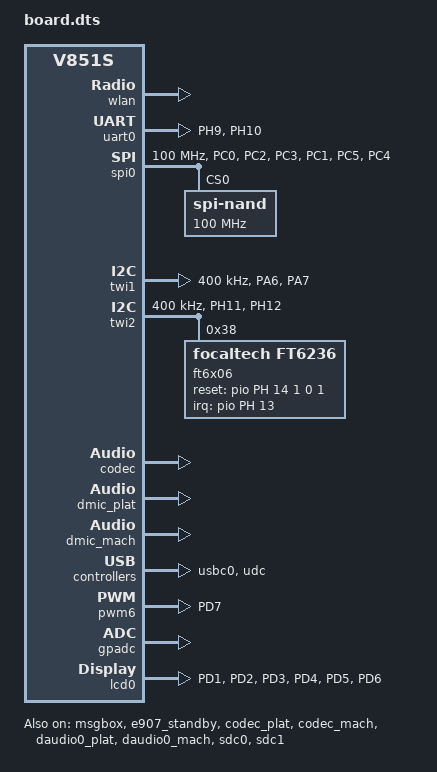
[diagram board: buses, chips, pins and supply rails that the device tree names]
/*
 * Allwinner Technology CO., Ltd. sun8iw21p1 soc board.
 *
 * soc board support.
 */

/dts-v1/;

#include "sun8iw21p1.dtsi"

/{
	compatible = "YuzukiHD,Yuzukilizard", "allwinner,sun8iw21p1", "arm,sun8iw21p1", "allwinner,v851s";

	reserved-memory {
		e907_dram: riscv_memserve {
			reg = <0x0 0x43c00000 0x0 0x00400000>;
			no-map;
		};

		vdev0buffer: vdev0buffer@0x43000000 {
			/* 256k reserved for shared mem pool */
			compatible = "shared-dma-pool";
			reg = <0x0 0x43000000 0x0 0x40000>;
			no-map;
		};

		vdev0vring0: vdev0vring0@0x43040000 {
			reg = <0x0 0x43040000 0x0 0x20000>;
			no-map;
		};

		vdev0vring1: vdev0vring1@0x43060000 {
			reg = <0x0 0x43060000 0x0 0x20000>;
			no-map;
		};
	};

	e907_rproc: e907_rproc@0 {
		compatible = "allwinner,sun8iw21p1-e907-rproc";
		clock-frequency = <600000000>;
		memory-region = <&e907_dram>, <&vdev0buffer>,
				<&vdev0vring0>, <&vdev0vring1>;

		mboxes = <&msgbox 0>;
		mbox-names = "mbox-chan";
		iommus = <&mmu_aw 5 1>;

		memory-mappings =
			/* DA 	         len         PA */
			/* DDR for e907  */
			< 0x43c00000 0x00400000 0x43c00000 >;
		core-name = "sun8iw21p1-e907";
		firmware-name = "melis-elf";
		status = "okay";
	};

	rpbuf_controller0: rpbuf_controller@0 {
		compatible = "allwinner,rpbuf-controller";
		remoteproc = <&e907_rproc>;
		ctrl_id = <0>;	/* index of /dev/rpbuf_ctrl */
		iommus = <&mmu_aw 5 1>;
		status = "okay";
	};

	rpbuf_sample: rpbuf_sample@0 {
		compatible = "allwinner,rpbuf-sample";
		rpbuf = <&rpbuf_controller0>;
		status = "okay";
	};

	soc@03000000 {		
		wlan: wlan@0 {
			compatible    = "allwinner,sunxi-wlan";
			pinctrl-names = "default";
			clock-names = "32k-fanout0";
			clocks        = <&clk_fanout0>;
			wlan_busnum    = <0x1>;
			wlan_regon    = <&pio PE 6 1 0x1 0x2 0>;
			wlan_hostwake = <&pio PE 7 14 0x1 0x2 0>;
			chip_en;
			power_en;
			status        = "okay";
			wakeup-source;
		};

		vind0:vind@0 {
			vind0_clk = <200000000>;
			status = "okay";

			csi2:csi@2 {
				pinctrl-names = "default","sleep";
				pinctrl-0 = <&ncsi_pins_a>;
				pinctrl-1 = <&ncsi_pins_b>;
				status = "disabled";
			};

			tdm0:tdm@0 {
				work_mode = <0>;
			};

			isp00:isp@0 {
				work_mode = <0>;
			};

			scaler00:scaler@0 {
				work_mode = <0>;
			};

			scaler10:scaler@4 {
				work_mode = <0>;
			};

			scaler20:scaler@8 {
				work_mode = <0>;
			};

			scaler30:scaler@12 {
				work_mode = <0>;
			};

			actuator0:actuator@0 {
				device_type = "actuator0";
				actuator0_name = "ad5820_act";
				actuator0_slave = <0x18>;
				actuator0_af_pwdn = <>;
				actuator0_afvdd = "afvcc-csi";
				actuator0_afvdd_vol = <2800000>;
				status = "disabled";
			};

			flash0:flash@0 {
				device_type = "flash0";
				flash0_type = <2>;
				flash0_en = <>;
				flash0_mode = <>;
				flash0_flvdd = "";
				flash0_flvdd_vol = <>;
				status = "disabled";
			};

			sensor0:sensor@0 {
				device_type = "sensor0";
				sensor0_mname = "gc2053_mipi";
				sensor0_twi_cci_id = <1>;
				sensor0_twi_addr = <0x6e>;
				sensor0_mclk_id = <0>;
				sensor0_pos = "rear";
				sensor0_isp_used = <1>;
				sensor0_fmt = <1>;
				sensor0_stby_mode = <0>;
				sensor0_vflip = <0>;
				sensor0_hflip = <0>;
				sensor0_iovdd-supply = <>;
				sensor0_iovdd_vol = <1800000>;
				sensor0_avdd-supply = <>;
				sensor0_avdd_vol = <2800000>;
				sensor0_dvdd-supply = <>;
				sensor0_dvdd_vol = <1200000>;
				sensor0_power_en = <>;
				sensor0_reset = <&pio PA 8 1 0 1 0>;
				sensor0_pwdn = <&pio PA 9 1 0 1 0>;
				/*sensor0_sm_hs = <&pio PE 2 1 0 1 0>;*/
				/*sensor0_sm_vs = <&pio PE 3 1 0 1 0>;*/
				flash_handle = <&flash0>;
				act_handle = <&actuator0>;
				status	= "okay";
			};

			sensor1:sensor@1 {
				device_type = "sensor1";
				sensor1_mname = "imx386_mipi_2";
				sensor1_twi_cci_id = <0>;
				sensor1_twi_addr = <0x20>;
				sensor1_mclk_id = <1>;
				sensor1_pos = "front";
				sensor1_isp_used = <1>;
				sensor1_fmt = <1>;
				sensor1_stby_mode = <0>;
				sensor1_vflip = <0>;
				sensor1_hflip = <0>;
				sensor1_iovdd-supply = <>;
				sensor1_iovdd_vol = <1800000>;
				sensor1_avdd-supply = <>;
				sensor1_avdd_vol = <2800000>;
				sensor1_dvdd-supply = <>;
				sensor1_dvdd_vol = <1200000>;
				sensor1_power_en = <>;
				sensor1_reset = <&pio PA 20 1 0 1 0>;
				sensor1_pwdn = <&pio PA 21 1 0 1 0>;
				sensor1_sm_hs = <&pio PE 2 1 0 1 0>;
				sensor1_sm_vs = <&pio PE 3 1 0 1 0>;
				flash_handle = <>;
				act_handle = <>;
				status	= "disabled";
			};

			vinc00:vinc@0 {
				vinc0_csi_sel = <0>;
				vinc0_mipi_sel = <0>;
				vinc0_isp_sel = <0>;
				vinc0_isp_tx_ch_ = <0>;
				vinc0_tdm_rx_sel = <0>;
				vinc0_rear_sensor_sel = <0>;
				vinc0_front_sensor_sel = <0>;
				vinc0_sensor_list = <0>;
				work_mode = <0x0>;
				status = "okay";
			};

			vinc01:vinc@1 {
				vinc1_csi_sel = <2>;
				vinc1_mipi_sel = <0xff>;
				vinc1_isp_sel = <1>;
				vinc1_isp_tx_ch = <1>;
				vinc1_tdm_rx_sel = <1>;
				vinc1_rear_sensor_sel = <0>;
				vinc1_front_sensor_sel = <0>;
				vinc1_sensor_list = <0>;
				status = "disabled";
			};

			vinc02:vinc@2 {
				vinc2_csi_sel = <2>;
				vinc2_mipi_sel = <0xff>;
				vinc2_isp_sel = <2>;
				vinc2_isp_tx_ch_ = <2>;
				vinc2_tdm_rx_sel = <2>;
				vinc2_rear_sensor_sel = <0>;
				vinc2_front_sensor_sel = <0>;
				vinc2_sensor_list = <0>;
				status = "disabled";
			};

			vinc03:vinc@3 {
				vinc3_csi_sel = <0>;
				vinc3_mipi_sel = <0xff>;
				vinc3_isp_sel = <0>;
				vinc3_isp_tx_ch_ = <0>;
				vinc3_tdm_rx_sel = <0>;
				vinc3_rear_sensor_sel = <1>;
				vinc3_front_sensor_sel = <1>;
				vinc3_sensor_list = <0>;
				status = "disabled";
			};

			vinc10:vinc@4 {
				vinc4_csi_sel = <0>;
				vinc4_mipi_sel = <0>;
				vinc4_isp_sel = <0>;
				vinc4_isp_tx_ch = <0>;
				vinc4_tdm_rx_sel = <0>;
				vinc4_rear_sensor_sel = <0>;
				vinc4_front_sensor_sel = <0>;
				vinc4_sensor_list = <0>;
				work_mode = <0x0>;
				status = "okay";
			};

			vinc11:vinc@5 {
				vinc5_csi_sel = <2>;
				vinc5_mipi_sel = <0xff>;
				vinc5_isp_sel = <1>;
				vinc5_isp_tx_ch = <1>;
				vinc5_tdm_rx_sel = <1>;
				vinc5_rear_sensor_sel = <0>;
				vinc5_front_sensor_sel = <0>;
				vinc5_sensor_list = <0>;
				status = "disabled";
			};

			vinc12:vinc@6 {
				vinc6_csi_sel = <2>;
				vinc6_mipi_sel = <0xff>;
				vinc6_isp_sel = <0>;
				vinc6_isp_tx_ch = <0>;
				vinc6_tdm_rx_sel = <0>;
				vinc6_rear_sensor_sel = <0>;
				vinc6_front_sensor_sel = <0>;
				vinc6_sensor_list = <0>;
				status = "disabled";
			};

			vinc13:vinc@7 {
				vinc7_csi_sel = <2>;
				vinc7_mipi_sel = <0xff>;
				vinc7_isp_sel = <0>;
				vinc7_isp_tx_ch = <0>;
				vinc7_tdm_rx_sel = <0>;
				vinc7_rear_sensor_sel = <0>;
				vinc7_front_sensor_sel = <0>;
				vinc7_sensor_list = <0>;
				status = "disabled";
			};

			vinc20:vinc@8 {
				vinc8_csi_sel = <0>;
				vinc8_mipi_sel = <0>;
				vinc8_isp_sel = <0>;
				vinc8_isp_tx_ch = <0>;
				vinc8_tdm_rx_sel = <0>;
				vinc8_rear_sensor_sel = <0>;
				vinc8_front_sensor_sel = <0>;
				vinc8_sensor_list = <0>;
				work_mode = <0x0>;
				status = "okay";
			};

			vinc21:vinc@9 {
				vinc9_csi_sel = <2>;
				vinc9_mipi_sel = <0xff>;
				vinc9_isp_sel = <0>;
				vinc9_isp_tx_ch = <0>;
				vinc9_tdm_rx_sel = <0>;
				vinc9_rear_sensor_sel = <0>;
				vinc9_front_sensor_sel = <0>;
				vinc9_sensor_list = <0>;
				status = "disabled";
			};

			vinc22:vinc@10 {
				vinc10_csi_sel = <2>;
				vinc10_mipi_sel = <0xff>;
				vinc10_isp_sel = <0>;
				vinc10_isp_tx_ch = <0>;
				vinc10_tdm_rx_sel = <0>;
				vinc10_rear_sensor_sel = <0>;
				vinc10_front_sensor_sel = <0>;
				vinc10_sensor_list = <0>;
				status = "disabled";
			};

			vinc23:vinc@11 {
				vinc11_csi_sel = <2>;
				vinc11_mipi_sel = <0xff>;
				vinc11_isp_sel = <0>;
				vinc11_isp_tx_ch = <0>;
				vinc11_tdm_rx_sel = <0>;
				vinc11_rear_sensor_sel = <0>;
				vinc11_front_sensor_sel = <0>;
				vinc11_sensor_list = <0>;
				status = "disabled";
			};

			vinc30:vinc@12 {
				vinc12_csi_sel = <0>;
				vinc12_mipi_sel = <0>;
				vinc12_isp_sel = <0>;
				vinc12_isp_tx_ch = <0>;
				vinc12_tdm_rx_sel = <0>;
				vinc12_rear_sensor_sel = <0>;
				vinc12_front_sensor_sel = <0>;
				vinc12_sensor_list = <0>;
				work_mode = <0x0>;
				status = "okay";
			};

			vinc31:vinc@13 {
				vinc13_csi_sel = <2>;
				vinc13_mipi_sel = <0xff>;
				vinc13_isp_sel = <0>;
				vinc13_isp_tx_ch = <0>;
				vinc13_tdm_rx_sel = <0>;
				vinc13_rear_sensor_sel = <0>;
				vinc13_front_sensor_sel = <0>;
				vinc13_sensor_list = <0>;
				status = "disabled";
			};

			vinc32:vinc@14 {
				vinc14_csi_sel = <2>;
				vinc14_mipi_sel = <0xff>;
				vinc14_isp_sel = <0>;
				vinc14_isp_tx_ch = <0>;
				vinc14_tdm_rx_sel = <0>;
				vinc14_rear_sensor_sel = <0>;
				vinc14_front_sensor_sel = <0>;
				vinc14_sensor_list = <0>;
				status = "disabled";
			};

			vinc33:vinc@15 {
				vinc15_csi_sel = <2>;
				vinc15_mipi_sel = <0xff>;
				vinc15_isp_sel = <0>;
				vinc15_isp_tx_ch = <0>;
				vinc15_tdm_rx_sel = <0>;
				vinc15_rear_sensor_sel = <0>;
				vinc15_front_sensor_sel = <0>;
				vinc15_sensor_list = <0>;
				status = "disabled";
			};
		};
	};

};

&npu {
	clock-frequency = <348000000>;/*0.93V 348M; 0.96V 348M*/
};

&uart0 {
	pinctrl-names = "default", "sleep";
	pinctrl-0 = <&uart0_pins_active>;
	pinctrl-1 = <&uart0_pins_sleep>;
	status = "okay";
};

&uart1 {
	pinctrl-names = "default", "sleep";
	pinctrl-0 = <&uart1_pins_active>;
	pinctrl-1 = <&uart1_pins_sleep>;
	status = "disabled";
};

&uart2 {
	pinctrl-names = "default", "sleep";
	pinctrl-0 = <&uart2_pins_active>;
	pinctrl-1 = <&uart2_pins_sleep>;
	status = "disabled";
};

&uart3 {
	pinctrl-names = "default", "sleep";
	pinctrl-0 = <&uart3_pins_active>;
	pinctrl-1 = <&uart3_pins_sleep>;
	status = "disabled";
};

&pio {
	uart0_pins_active: uart0@0 {
		allwinner,pins = "PH9", "PH10";
		allwinner,function = "uart0";
		allwinner,muxsel = <5>;
		allwinner,drive = <1>;
		allwinner,pull = <1>;
	};

	uart0_pins_sleep: uart0@1 {
		allwinner,pins = "PH9", "PH10";
		allwinner,function = "gpio_in";
		allwinner,muxsel = <0>;
	};

	uart1_pins_active: uart1@0 {
		allwinner,pins = "PG6", "PG7";
		allwinner,function = "uart1";
		allwinner,muxsel = <4>;
		allwinner,drive = <1>;
		allwinner,pull = <1>;
	};

	uart1_pins_sleep: uart1@1 {
		allwinner,pins = "PG6", "PG7";
		allwinner,function = "gpio_in";
		allwinner,muxsel = <0>;
	};

	uart2_pins_active: uart2@0 {
		allwinner,pins = "PA8", "PA9";
		allwinner,function = "uart2";
		allwinner,muxsel = <6>;
		allwinner,drive = <1>;
		allwinner,pull = <1>;
	};

	uart2_pins_sleep: uart2@1 {
		allwinner,pins = "PA8", "PA9";
		allwinner,function = "gpio_in";
		allwinner,muxsel = <0>;
	};

	uart3_pins_active: uart3@0 {
		allwinner,pins = "PE12", "PE13";
		allwinner,function = "uart3";
		allwinner,muxsel = <7>;
		allwinner,drive = <1>;
		allwinner,pull = <1>;
	};

	uart3_pins_sleep: uart3@1 {
		allwinner,pins = "PE12", "PE13";
		allwinner,function = "gpio_in";
		allwinner,muxsel = <0>;
	};

	csi_mclk0_pins_a: csi_mclk0@0 {
		allwinner,pins = "PA10";
		allwinner,pname = "mipi_csi_mclk0";
		allwinner,function = "mipi_csi_mclk0";
		allwinner,muxsel = <0x4>;
		allwinner,drive = <2>;
		allwinner,pull = <0>;
	};

	csi_mclk0_pins_b: csi_mclk0@1 {
		allwinner,pins = "PA10";
		allwinner,pname = "mipi_csi_mclk0";
		allwinner,function = "io_disabled";
		allwinner,muxsel = <0xf>;
		allwinner,drive = <2>;
		allwinner,pull = <0>;
	};

	spi0_pins_a: spi0@0 {
		allwinner,pins = "PC0", "PC2", "PC3";
		allwinner,pname = "spi0_sclk", "spi0_mosi", "spi0_miso";
		allwinner,function = "spi0";
		allwinner,muxsel = <4>;
		allwinner,drive = <1>;
		allwinner,pull = <0>;
	};

	spi0_pins_b: spi0@1 {
		allwinner,pins = "PC1", "PC5", "PC4";
		allwinner,pname = "spi0_cs0", "spi0_hold", "spi0_wp";
		allwinner,function = "spi0";
		allwinner,muxsel = <4>;
		allwinner,drive = <1>;
		allwinner,pull = <1>;   // only CS should be pulled up
	};

	spi0_pins_c: spi0@2 {
		allwinner,pins = "PC0", "PC1", "PC2", "PC3", "PC4", "PC5";
		allwinner,function = "io_disabled";
		allwinner,muxsel = <7>;
		allwinner,drive = <1>;
		allwinner,pull = <0>;
	};

	spi1_pins_a: spi1@0 {
		allwinner,pins = "PF31", "PF24", "PF29",
					 "PF26", "PF30";
		allwinner,pname = "spi0_sclk", "spi0_mosi",
					 "spi0_miso", "spi0_hold", "spi0_wp";
		allwinner,function = "spi0";
		allwinner,muxsel = <5>;
		allwinner,drive = <1>;
		allwinner,pull = <0>;
	};

	spi1_pins_b: spi1@1 {
		allwinner,pins = "PF25";
		allwinner,pname = "spi0_cs0";
		allwinner,function = "spi0";
		allwinner,muxsel = <5>;
		allwinner,drive = <1>;
		allwinner,pull = <1>;   // only CS should be pulled up
	};

	spi1_pins_c: spi1@2 {
		allwinner,pins = "PF24", "PF25", "PF26", "PF29", "PF30", "PF31";
		allwinner,function = "io_disabled";
		allwinner,muxsel = <7>;
		allwinner,drive = <1>;
		allwinner,pull = <0>;
	};

	spif0_pins_a: spif0@0 {
		/* aw1886 fpga PF11 can't be set */
		allwinner,pins = "PF24", "PF29", "PF26", "PF30",
							"PF31","PF20", "PF21", "PF22",
							"PF23";
	/*
		allwinner,pins = "PF24", "PF29", "PF26", "PF30",
							"PF31","PF20", "PF21", "PF22",
							"PF23","PF11";
	*/
		allwinner,pname = "spif0_mosi", "spif0_miso", "spif0_hold", "spif0_wp",
							"spif0_sck", "spif0_dq4", "spif0_dq5", "spif0_dq6",
							"spif0_dq7", "spif0_dqs";
		allwinner,function = "spif";
		allwinner,muxsel = <3>;
		allwinner,drive = <1>;
		allwinner,pull = <0>;
	};

	spif0_pins_b: spif0@1 {
		allwinner,pins = "PF25";
		allwinner,pname = "spif0_cs0";
		allwinner,function = "spif";
		allwinner,muxsel = <3>;
		allwinner,drive = <1>;
		allwinner,pull = <1>;   // only CS should be pulled up
	};

	spif0_pins_c: spif0@2 {
		allwinner,pins = "PF24", "PF29", "PF26", "PF30",
						"PF31","PF20", "PF21", "PF22",
						"PF23", "PF25", "PF11";
		allwinner,pname = "spif0_mosi", "spif0_miso", "spif0_hold", "spif0_wp",
						"spif0_sck", "spif0_dq4", "spif0_dq5", "spif0_dq6",
						"spif0_dq7", "spif0_cs", "spif0_dqs";
		allwinner,function = "io_disabled";
		allwinner,muxsel = <0xF>;
		allwinner,drive = <1>;
		allwinner,pull = <0>;
	};

	twi0_pins_a: twi0@0 {
		allwinner,pins = "PA16", "PA17";
		allwinner,pname = "twi0_scl", "twi0_sda";
		allwinner,function = "twi0";
		allwinner,muxsel = <4>;
		allwinner,drive = <0>;
		allwinner,pull = <1>;
	};

	twi0_pins_b: twi0@1 {
		allwinner,pins = "PA16", "PA17";
		allwinner,function = "io_disabled";
		allwinner,muxsel = <0xf>;
		allwinner,drive = <0>;
		allwinner,pull = <0>;
	};

	twi1_pins_a: twi1@0 {
		allwinner,pins = "PA6", "PA7";
		allwinner,pname = "twi1_scl", "twi1_sda";
		allwinner,function = "twi1";
		allwinner,muxsel = <4>;
		allwinner,drive = <0>;
		allwinner,pull = <1>;
	};

	twi1_pins_b: twi1@1 {
		allwinner,pins = "PA6", "PA7";
		allwinner,function = "io_disabled";
		allwinner,muxsel = <0xf>;
		allwinner,drive = <0>;
		allwinner,pull = <0>;
	};

	twi2_pins_a: twi2@0 {
		allwinner,pins = "PH11", "PH12";
		allwinner,pname = "twi2_scl", "twi2_sda";
		allwinner,function = "twi2";
		allwinner,muxsel = <5>;
		allwinner,drive = <0>;
		allwinner,pull = <1>;
	};

	twi2_pins_b: twi2@1 {
		allwinner,pins = "PH11", "PH12";
		allwinner,function = "io_disabled";
		allwinner,muxsel = <0xf>;
		allwinner,drive = <0>;
		allwinner,pull = <0>;
	};

	twi3_pins_a: twi3@0 {
		allwinner,pins = "PI3", "PI4";
		allwinner,pname = "twi3_scl", "twi3_sda";
		allwinner,function = "twi6";
		allwinner,muxsel = <6>;
		allwinner,drive = <0>;
		allwinner,pull = <1>;
	};

	twi3_pins_b: twi3@1 {
		allwinner,pins = "PI3", "PI4";
		allwinner,function = "io_disabled";
		allwinner,muxsel = <0xf>;
		allwinner,drive = <0>;
		allwinner,pull = <0>;
	};

	twi4_pins_a: twi4@0 {
		allwinner,pins = "PI1", "PI2";
		allwinner,pname = "twi4_scl", "twi4_sda";
		allwinner,function = "twi4";
		allwinner,muxsel = <5>;
		allwinner,drive = <0>;
		allwinner,pull = <1>;
	};

	twi4_pins_b: twi4@1 {
		allwinner,pins = "PI1", "PI2";
		allwinner,function = "io_disabled";
		allwinner,muxsel = <0xf>;
		allwinner,drive = <0>;
		allwinner,pull = <0>;
	};

	dmic_pins_a: dmic@0 {
		allwinner,pins = "PH0", "PH1", "PH2", "PH3", "PH4";
		allwinner,function = "dmic";
		allwinner,muxsel = <6>;
		allwinner,drive = <1>;
		allwinner,pull = <0>;
	};

	dmic_pins_b: dmic_sleep@0 {
		allwinner,pins = "PH0", "PH1", "PH2", "PH3", "PH4";
		allwinner,function = "io_disabled";
		allwinner,muxsel = <0xf>;
		allwinner,drive = <1>;
		allwinner,pull = <0>;
	};

	daudio0_pins_a: daudio0@0 {
		allwinner,pins = "PH0", "PH1", "PH2", "PH3", "PH4";
		allwinner,function = "i2s0";
		allwinner,muxsel = <3>;
		allwinner,drive = <1>;
		allwinner,pull = <0>;
	};

	daudio0_pins_b: daudio0_sleep@0 {
		allwinner,pins = "PH0", "PH1", "PH2", "PH3", "PH4";
		allwinner,function = "io_disabled";
		allwinner,muxsel = <0xf>;
		allwinner,drive = <1>;
		allwinner,pull = <0>;
	};

	daudio1_pins_a: daudio1@0 {
		allwinner,pins = "PE7", "PE8", "PE9", "PE10", "PE11";
		allwinner,function = "i2s1";
		allwinner,muxsel = <7>;
		allwinner,drive = <1>;
		allwinner,pull = <0>;
	};

	daudio1_pins_b: daudio1_sleep@0 {
		allwinner,pins = "PE7", "PE8", "PE9", "PE10", "PE11";
		allwinner,function = "io_disabled";
		allwinner,muxsel = <0xf>;
		allwinner,drive = <1>;
		allwinner,pull = <0>;
	};

	pwm6_pin_a: pwm6@0 {
		pins = "PD7";
		function = "pwm6";
		muxsel = <3>;
		drive-strength = <10>;
		bias-pull-up;
	};

	pwm6_pin_b: pwm6@1 {
		pins = "PD7";
		function = "gpio_in";
		muxsel = <0>;
	};

	pwm11_pin_a: pwm11@0 {
		pins = "PD12";
		function = "pwm11";
		muxsel = <7>;
		drive-strength = <10>;
	};

	pwm11_pin_b: pwm11@1 {
		pins = "PD12";
		function = "gpio_in";
		muxsel = <0>;
	};

	wiegand_pins_a: wiegand@0 {
		pins = "PD1", "PD2";
		function = "wiegand";
		drive-strength = <10>;
		muxsel = <0>;
		bias-pull-up;
	};

	wiegand_pins_b: wiegand@1 {
		pins = "PD1", "PD2";
		muxsel = <1>;
		function = "io_disabled";
	};

	gmac0_pins_a: gmac0@0 {
		allwinner,pins = "PD1", "PD2", "PD3", "PD4",
				"PD5", "PD6", "PD7","PD8",
				"PD18", "PD20", "PD21";
		allwinner,function = "rmii";
		allwinner,drive = <1>;
		allwinner,muxsel = <4>;
		allwinner,pull = <0>;
	};

	gmac0_pins_b: gmac0@1 {
		allwinner,pins = "PD1", "PD2", "PD3", "PD4",
				"PD5", "PD6", "PD7","PD8",
				"PD18", "PD20","PD21";
		allwinner,function = "gpio_in";
		allwinner,drive = <0>;
		allwinner,muxsel = <0>;
		allwinner,pull = <0>;
	};

	sdc0_pins_a: sdc0@0 {
		allwinner,pins = "PF0", "PF1", "PF2",
				 "PF3", "PF4", "PF5";
		allwinner,function = "sdc0";
		allwinner,muxsel = <2>;
		allwinner,drive = <1>;
		allwinner,pull = <0>;
	};

	sdc1_pins_a: sdc1@0 {
		allwinner,pins = "PE0", "PE1", "PE2",
				 "PE3", "PE4", "PE5";
		allwinner,function = "sdc1";
		allwinner,muxsel = <6>;
		allwinner,drive = <3>;
		allwinner,pull = <1>;
	};

	sdc1_pins_b: sdc1@1 {
		allwinner,pins = "PE0", "PE1", "PE2",
				 "PE3", "PE4", "PE5";
		allwinner,function = "io_disabled";
		allwinner,muxsel = <7>;
		allwinner,drive = <1>;
		allwinner,pull = <1>;
	};

	dsi2lane_pins_a: dsi2lane@0 {
		allwinner,pins = "PD1", "PD2", "PD3", "PD4", "PD5", "PD6";
		allwinner,pname = "PD1", "PD2", "PD3", "PD4", "PD5", "PD6";
		allwinner,function = "dsi";
		allwinner,muxsel = <5>;
		allwinner,drive = <3>;
		allwinner,pull = <0>;
	};

	dsi2lane_pins_b: dsi2lane@1 {
		allwinner,pins = "PD1", "PD2", "PD3", "PD4", "PD5", "PD6";
		allwinner,pname = "PD1", "PD2", "PD3", "PD4", "PD5", "PD6";
		allwinner,function = "io_disabled";
		allwinner,muxsel = <0xf>;
		allwinner,drive = <1>;
		allwinner,pull = <0>;
	};
};

&spi0 {
	clock-frequency = <100000000>;
	pinctrl-0 = <&spi0_pins_a &spi0_pins_b>;
	pinctrl-1 = <&spi0_pins_c>;
	pinctrl-names = "default", "sleep";
	spi_slave_mode = <0>;
	spi_dbi_enable = <0>;
	spi0_cs_number = <1>;
	status = "okay";

	spi_board0 {
		device_type = "spi_board0";
		compatible = "spi-nor";
		spi-max-frequency = <0x05F5E100>;
		m25p,fast-read = <1>;
		/*individual_lock;*/
		reg = <0x0>;
		spi-rx-bus-width=<0x04>;
		spi-tx-bus-width=<0x04>;
		status="disabled";
	};

	spi-nand@0 {
		compatible = "spi-nand";
		spi-max-frequency=<0x05F5E100>;
		reg = <0x0>;
		spi-rx-bus-width=<0x04>;
		spi-tx-bus-width=<0x04>;
		status="okay";
	};
};

&spi1 {
	clock-frequency = <100000000>;
	pinctrl-0 = <&spi1_pins_a &spi1_pins_b>;
	pinctrl-1 = <&spi1_pins_c>;
	pinctrl-names = "default", "sleep";
	spi_slave_mode = <0>;
	spi_dbi_enable = <1>;
	spi1_cs_number = <1>;
	status = "disabled";

	spi_board1@0 {
		device_type = "spi_dbi";
		compatible = "sunxi,spidbi";
		spi-max-frequency = <0x5f5e100>;
		reg = <0x0>;
		spi-rx-bus-width = <0x4>;
		spi-tx-bus-width = <0x4>;
		status = "disabled";
	};
};

&spi5 {
	clock-frequency = <10000000>;
	pinctrl-0 = <&spif0_pins_a &spif0_pins_b>;
	pinctrl-1 = <&spif0_pins_c>;
	pinctrl-names = "default", "sleep";
	//prefetch_read_mode_enabled;	/* choose prefect read mode */
	//dtr_mode_enabled;				/* choose double edge trigger mode */
	//dqs_mode_enabled;				/* choose dqs mode(nand provide clk mode) */
	status = "disabled";

	spi_board1@0 {
		device_type = "spi_board1";
		compatible = "rohm,dh2228fv";
		spi-max-frequency = <0x5f5e100>;
		reg = <0x0>;
		spi-rx-bus-width = <0x4>;
		spi-tx-bus-width = <0x4>;
		status = "disabled";
	};
};

&msgbox {
	status = "okay";
};

&e907_standby {
	status = "okay";
};

&twi0 {
	clock-frequency = <400000>;
	pinctrl-0 = <&twi0_pins_a>;
	pinctrl-1 = <&twi0_pins_b>;
	pinctrl-names = "default", "sleep";
	/* For stability and backwards compatibility, we recommend setting ‘twi_drv_used’ to 0  */
	twi_drv_used = <0>;
	twi_pkt_interval = <0>;
	status = "disabled";
};

&twi1 {
	clock-frequency = <400000>;
	pinctrl-0 = <&twi1_pins_a>;
	pinctrl-1 = <&twi1_pins_b>;
	pinctrl-names = "default", "sleep";
	/* For stability and backwards compatibility, we recommend setting ‘twi_drv_used’ to 0  */
	twi_drv_used = <0>;
	twi_pkt_interval = <0>;
	status = "okay";
};

&twi2 {
	clock-frequency = <400000>;
	pinctrl-0 = <&twi2_pins_a>;
	pinctrl-1 = <&twi2_pins_b>;
	pinctrl-names = "default", "sleep";
	/* For stability and backwards compatibility, we recommend setting ‘twi_drv_used’ to 0  */
	twi_drv_used = <0>;
	twi_pkt_interval = <0>;
	status = "okay";

	ft6x06@38 {
		compatible = "focaltech,ft6236";
		reg = <0x38>;
		interrupt-parent = <&pio>;
		interrupts = <PH 13 IRQ_TYPE_LEVEL_LOW>;
		reset-gpios = <&pio PH 14 1 0 1 0>;
		touchscreen-size-x = <480>;
		touchscreen-size-y = <800>;
		touchscreen-inverted-x;
	};
};

&twi3 {
	clock-frequency = <400000>;
	pinctrl-0 = <&twi3_pins_a>;
	pinctrl-1 = <&twi3_pins_b>;
	pinctrl-names = "default", "sleep";
	/* For stability and backwards compatibility, we recommend setting ‘twi_drv_used’ to 0  */
	twi_drv_used = <0>;
	twi_pkt_interval = <0>;
	status = "disabled";
};

/* audio dirver module -> audio codec */
&codec {
	/* external-avcc; */
	/* avcc-supply	= <&reg_aldo1>; */
	avcc-vol	= <1800000>;	/* uv */
	lineout-vol	= <31>;
	mic1gain	= <31>;
	mic2gain	= <31>;
	adcdelaytime	= <0>;
	lineout-single;
	/* mic1-single; */
	/* mic2-single; */
	pa-pin-max	= <1>;		/* set pa */
	pa-pin-0	= <&pio PH 15 1 1 1 1>;
	pa-pin-level-0	= <1>;
	pa-pin-msleep-0	= <0>;
	tx-hub-en;
	rx-sync-en;
	status		= "okay";
};

&codec_plat {
	status		= "okay";
};

&codec_mach {
	status		= "okay";
	soundcard-mach,cpu {
		sound-dai = <&codec_plat>;
	};
	soundcard-mach,codec {
		sound-dai = <&codec>;
	};
};

/* audio dirver module -> DMIC */
&dmic_plat {
	rx-chmap	= <0x76543210>;
	data-vol	= <0xB0>;
	rxdelaytime	= <0>;
	/* pinctrl-used; */
	/* pinctrl-names= "default","sleep"; */
	/* pinctrl-0	= <&dmic_pins_a>; */
	/* pinctrl-1	= <&dmic_pins_b>; */
	rx-sync-en;
	status		= "okay";
};

&dmic_mach {
	status		= "okay";
	soundcard-mach,cpu {
		sound-dai = <&dmic_plat>;
		soundcard-mach,pll-fs	= <1>; /* pll freq = 24.576M or 22.5792M * pll-fs */
	};
	soundcard-mach,codec {
	};
};

/* audio dirver module -> I2S/PCM */
&daudio0_plat {
	tdm-num		= <0>;
	tx-pin		= <0>;
	rx-pin		= <0>;
	/* pinctrl-used; */
	/* pinctrl-names= "default","sleep"; */
	/* pinctrl-0	= <&daudio0_pins_a>; */
	/* pinctrl-1	= <&daudio0_pins_b>; */
	tx-hub-en;
	rx-sync-en;
	status		= "okay";
};

&daudio0_mach {
	soundcard-mach,format		= "i2s";
	soundcard-mach,frame-master	= <&daudio0_cpu>;
	soundcard-mach,bitclock-master	= <&daudio0_cpu>;
	/* soundcard-mach,frame-inversion; */
	/* soundcard-mach,bitclock-inversion; */
	soundcard-mach,slot-num		= <2>;
	soundcard-mach,slot-width	= <32>;
	status		= "okay";
	daudio0_cpu: soundcard-mach,cpu {
		sound-dai = <&daudio0_plat>;
		soundcard-mach,pll-fs	= <1>; /* pll freq = 24.576M or 22.5792M * pll-fs */
		soundcard-mach,mclk-fs	= <0>; /* mclk freq = pcm rate * mclk-fs */
	};
	daudio0_codec: soundcard-mach,codec {
	};
};

&daudio1_plat {
	tdm-num		= <1>;
	tx-pin		= <0>;
	rx-pin		= <0>;
	/* pinctrl-used; */
	/* pinctrl-names= "default","sleep"; */
	/* pinctrl-0	= <&daudio1_pins_a>; */
	/* pinctrl-1	= <&daudio1_pins_b>; */
	tx-hub-en;
	rx-sync-en;
	status		= "disabled";
};

&daudio1_mach {
	soundcard-mach,format		= "i2s";
	soundcard-mach,frame-master	= <&daudio1_cpu>;
	soundcard-mach,bitclock-master	= <&daudio1_cpu>;
	/* soundcard-mach,frame-inversion; */
	/* soundcard-mach,bitclock-inversion; */
	soundcard-mach,slot-num		= <2>;
	soundcard-mach,slot-width	= <32>;
	status		= "disabled";
	daudio1_cpu: soundcard-mach,cpu {
		sound-dai = <&daudio1_plat>;
		soundcard-mach,pll-fs	= <1>; /* pll freq = 24.576M or 22.5792M * pll-fs */
		soundcard-mach,mclk-fs	= <0>; /* mclk freq = pcm rate * mclk-fs */
	};
	daudio1_codec: soundcard-mach,codec {
	};
};
/* audio dirver module -> END */

&usbc0 {
	device_type = "usbc0";
	usb_port_type = <0x0>;
	usb_detect_type = <0x0>;
	usb_detect_mode = <0x0>;
	usb_id_gpio;
	usb_det_vbus_gpio;
	usb_regulator_io = "nocare";
	usb_wakeup_suspend = <0x0>;
	usb_luns = <0x3>;
	usb_serial_unique = <0x0>;
	usb_serial_number = "20080411";
	status = "okay";
};

&udc {
	status = "okay";
};

&pwm6 {
	pinctrl-names = "active", "sleep";
	pinctrl-0 = <&pwm6_pin_a>;
	pinctrl-1 = <&pwm6_pin_b>;
	status = "okay";
};

&gpadc {
	channel_num = <1>;
	channel_select = <0x01>;
	channel_data_select = <0>;
	channel_compare_select = <0x01>;
	channel_cld_select = <0x01>;
	channel_chd_select = <0>;
	channel0_compare_lowdata = <1700000>;
	channel0_compare_higdata = <1200000>;
	channel1_compare_lowdata = <460000>;
	channel1_compare_higdata = <1200000>;
	key_cnt = <5>;
	key0_vol = <210>;
	key0_val = <115>;
	key1_vol = <410>;
	key1_val = <114>;
	key2_vol = <590>;
	key2_val = <139>;
	key3_vol = <750>;
	key3_val = <28>;
	key4_vol = <880>;
	key4_val = <102>;
	status = "okay";
};

&wiegand {
	protocol-type		= <0>;		/* select protocol-type; 0:26bit, 1:34bit */
	signal-duration		= <110>;	/* duty cycle, range is determined by clock_div */
	signal-period		= <1178>;	/* cycle length, range is determined by clock_div */
	high-parity-polar	= <0x01>;	/* select high parity bit polarity 1:odd parity; 0:even parity */
	low-parity-polar	= <0x00>;	/* select low parity bit polarity 1:odd parity; 0:even parity */
	data-polar		= <0x01>;	/* select the bit polarity 0:normal; 1:inverse */
	clock-div		= <0x18>;	/* set the clock division ratio, range: 0-48 */
	pinctrl-names = "default", "sleep";
	pinctrl-0 = <&wiegand_pins_a>;
	pinctrl-1 = <&wiegand_pins_b>;
	status = "disabled";
};

&gmac0{
	phy-mode = "rmii";
	use_ephy25m = <1>;
	pinctrl-0 = <&gmac0_pins_a>;
	pinctrl-1 = <&gmac0_pins_b>;
	pinctrl-names = "default", "sleep";
	phy-rst = <&pio PD 19 1 1 1 0>;
	tx-delay = <7>;
	rx-delay = <31>;
	disable-az-mode;
	status = "disabled";
};

&sdc2 {
	non-removable;
	bus-width = <8>;
	mmc-ddr-1_8v;
	mmc-hs200-1_8v;
	mmc-hs400-1_8v;
	no-sdio;
	no-sd;
	ctl-spec-caps = <0x8>;
	cap-mmc-highspeed;
	sunxi-power-save-mode;
	sunxi-dis-signal-vol-sw;
	max-frequency = <100000000>;
	/*vmmc-supply = <&reg_dcdc1>;*/
	/*emmc io vol 3.3v*/
	/*vqmmc-supply = <&reg_aldo1>;*/
	/*emmc io vol 1.8v*/
	/*vqmmc-supply = <&reg_eldo1>;*/
	status = "disabled";
};

&sdc0 {
	bus-width = <4>;
	/*cd-gpios = <&pio PF 6 6 1 3 0xffffffff>;*/
	/*non-removable;*/
	/*broken-cd;*/
	/*cd-inverted;*/
	data3-detect;
	/*card-pwr-gpios = <&pio PH 12 1 1 2 0xffffffff>;*/
	/*cd-used-24M;*/
	cap-sd-highspeed;
	sd-uhs-sdr50;
	sd-uhs-ddr50;
	sd-uhs-sdr104;
	no-sdio;
	no-mmc;
	sunxi-signal-vol-sw-without-pmu;
	sunxi-power-save-mode;
	/*sunxi-dis-signal-vol-sw;*/
	max-frequency = <150000000>;
	ctl-spec-caps = <0x408>;
	/*vmmc-supply = <&reg_dcdc1>;*/
	/*vqmmc33sw-supply = <&reg_dcdc1>;*/
	/*vdmmc33sw-supply = <&reg_dcdc1>;*/
	/*vqmmc18sw-supply = <&reg_bldo1>;*/
	/*vdmmc18sw-supply = <&reg_bldo1>;*/
	status = "okay";
};

&sdc1 {
	bus-width = <4>;
	no-mmc;
	no-sd;
	cap-sd-highspeed;
	/*sd-uhs-sdr12*/
	/*sd-uhs-sdr25*/
	/*sd-uhs-sdr50;*/
	/*sd-uhs-ddr50;*/
	/*sd-uhs-sdr104*/
	/*sunxi-power-save-mode;*/
	/*sunxi-dis-signal-vol-sw;*/
	cap-sdio-irq;
	keep-power-in-suspend;
	ignore-pm-notify;
	max-frequency = <50000000>;
	ctl-spec-caps = <0x8>;
	pinctrl-0 = <&sdc1_pins_a>;
	pinctrl-1 = <&sdc1_pins_b>;
	status = "okay";
};

&cpu0 {
	vf_tbl_sel = <0>;
};

&disp {
	disp_init_enable         = <1>;
	disp_mode                = <0>;

	screen0_output_type      = <1>;
	screen0_output_mode      = <4>;

	screen1_output_type      = <3>;
	screen1_output_mode      = <10>;

	screen1_output_format    = <0>;
	screen1_output_bits      = <0>;
	screen1_output_eotf      = <4>;
	screen1_output_cs        = <257>;
	screen1_output_range     = <2>;
	screen1_output_scan      = <0>;
	screen1_output_aspect_ratio = <8>;

	dev0_output_type         = <1>;
	dev0_output_mode         = <4>;
	dev0_screen_id           = <0>;
	dev0_do_hpd              = <0>;

	dev1_output_type         = <4>;
	dev1_output_mode         = <10>;
	dev1_screen_id           = <1>;
	dev1_do_hpd              = <1>;

	def_output_dev           = <0>;

	fb0_format               = <0>;
	fb0_width                = <0>;
	fb0_height               = <0>;

	fb1_format               = <0>;
	fb1_width                = <0>;
	fb1_height               = <0>;
	chn_cfg_mode             = <1>;

	disp_para_zone           = <1>;
};

/*----------------------------------------------------------------------------------
;lcd0 configuration

;lcd_if:               0:hv(sync+de); 1:8080; 2:ttl; 3:lvds; 4:dsi; 5:edp; 6:extend dsi
;lcd_hv_if             0:Parallel RGB; 8:Serial RGB; 10:Dummy RGB; 11: RGB Dummy;12:CCIR656
;lcd_hv_clk_phase      0:0 degree;1:90 degree;2:180 degree;3:270 degree
;lcd_hv_sync_polarity  0:vs low,hs low; 1:vs high,hslow; 2:vs low,hs high; 3:vs high,hs high
;lcd_hv_syuv_seq       0:YUYV; 1:YVYU; 2:UYVY; 3:VYUY
;lcd_cpu_if            0:18bit/1 cycle parallel(RGB666); 4:16bit/1cycle parallel (RGB565)
;                      6:18bit/3 cycle parallel(RGB666); 7:16bit/2cycle parallel (RGB565)
;lcd_cpu_te            0:frame auto trigger; 1:frame triggered by te rising edge; 2:frame triggered by te falling edge;
;lcd_dsi_if            0:video mode; 1: Command mode; 2:video burst mode
;lcd_dsi_te            0:frame auto trigger; 1:frame triggered by te rising edge; 2:frame triggered by te falling edge;
;lcd_x:                lcd horizontal resolution
;lcd_y:                lcd vertical resolution
;lcd_width:            width of lcd in mm
;lcd_height:           height of lcd in mm
;lcd_dclk_freq:        in MHZ unit
;lcd_pwm_freq:         in HZ unit
;lcd_pwm_pol:          lcd backlight PWM polarity
;lcd_pwm_max_limit     lcd backlight PWM max limit(<=255)
;lcd_hbp:              hsync back porch(pixel) + hsync plus width(pixel);
;lcd_ht:               hsync total cycle(pixel)
;lcd_vbp:              vsync back porch(line) + vysnc plus width(line)
;lcd_vt:               vysnc total cycle(line)
;lcd_hspw:             hsync plus width(pixel)
;lcd_vspw:             vysnc plus width(pixel)
;lcd_lvds_if:          0:single link;  1:dual link
;lcd_lvds_colordepth:  0:8bit; 1:6bit
;lcd_lvds_mode:        0:NS mode; 1:JEIDA mode
;lcd_frm:              0:disable; 1:enable rgb666 dither; 2:enable rgb656 dither
;lcd_io_phase:         0:noraml; 1:intert phase(0~3bit: vsync phase; 4~7bit:hsync phase;
;                      8~11bit:dclk phase; 12~15bit:de phase)
;lcd_gamma_en          lcd gamma correction enable
;lcd_bright_curve_en   lcd bright curve correction enable
;lcd_cmap_en           lcd color map function enable
;deu_mode              0:smoll lcd screen; 1:large lcd screen(larger than 10inch)
;lcdgamma4iep:         Smart Backlight parameter, lcd gamma vale * 10;
;                      decrease it while lcd is not bright enough; increase while lcd is too bright
;smart_color           90:normal lcd screen 65:retina lcd screen(9.7inch)
;Pin setting for special function ie.LVDS, RGB data or vsync
;   name(donot care) = port:PD12<pin function><pull up or pull down><drive ability><output level>
;Pin setting for gpio:
;   lcd_gpio_X     = port:PD12<pin function><pull up or pull down><drive ability><output level>
;Pin setting for backlight enable pin
;   lcd_bl_en     = port:PD12<pin function><pull up or pull down><drive ability><output level>
;fsync setting, pulse to csi
;lcd_fsync_en          (0:disable fsync,1:enable)
;lcd_fsync_act_time    (active time of fsync, unit:pixel)
;lcd_fsync_dis_time    (disactive time of fsync, unit:pixel)
;lcd_fsync_pol         (0:positive;1:negative)
;gpio config: <&pio for cpu or &r_pio for cpus, port, port num, pio function,
pull up or pull down(default 0), driver level(default 1), data>
;For dual link lvds: use lvds2link_pins_a  and lvds2link_pins_b instead
;For rgb24: use rgb24_pins_a  and rgb24_pins_b instead
;For lvds1: use lvds1_pins_a  and lvds1_pins_b instead
;For lvds0: use lvds0_pins_a  and lvds0_pins_b instead
;----------------------------------------------------------------------------------*/
&lcd0 {
	base_config_start   = <1>;
	lcd_used            = <1>;

	lcd_driver_name     = "d310t9362v1";

	lcd_bl_0_percent    = <0>;
	lcd_bl_40_percent   = <23>;
	lcd_bl_100_percent  = <100>;
	lcd_backlight       = <150>;

	lcd_if              = <4>;
	lcd_x               = <480>;
	lcd_y               = <800>;
	lcd_width           = <40>;
	lcd_height          = <67>;
	lcd_dclk_freq       = <34>;

	lcd_pwm_used        = <1>;
	lcd_pwm_ch          = <6>;
	lcd_pwm_freq        = <50000>;
	lcd_pwm_pol         = <1>;
	lcd_pwm_max_limit   = <255>;

	lcd_hbp             = <120>;
	lcd_ht              = <624>;
	lcd_hspw            = <48>;
	lcd_vbp             = <28>;
	lcd_vt              = <908>;
	lcd_vspw            = <12>;

	lcd_dsi_if          = <0>;
	lcd_dsi_lane        = <2>;
	lcd_dsi_format      = <0>;
	lcd_dsi_te          = <0>;
	lcd_dsi_eotp        = <0>;

	lcd_frm             = <0>;
	lcd_io_phase        = <0x0000>;
	lcd_hv_clk_phase    = <0>;
	lcd_hv_sync_polarity= <0>;
	lcd_gamma_en        = <0>;
	lcd_bright_curve_en = <0>;
	lcd_cmap_en         = <0>;

	deu_mode            = <0>;
	lcdgamma4iep        = <22>;
	smart_color         = <90>;

	lcd_gpio_0          = <&pio PD 8 1 0 3 1>;
	pinctrl-0           = <&dsi2lane_pins_a>;
	pinctrl-1           = <&dsi2lane_pins_b>;

	base_config_end     = <1>;
};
